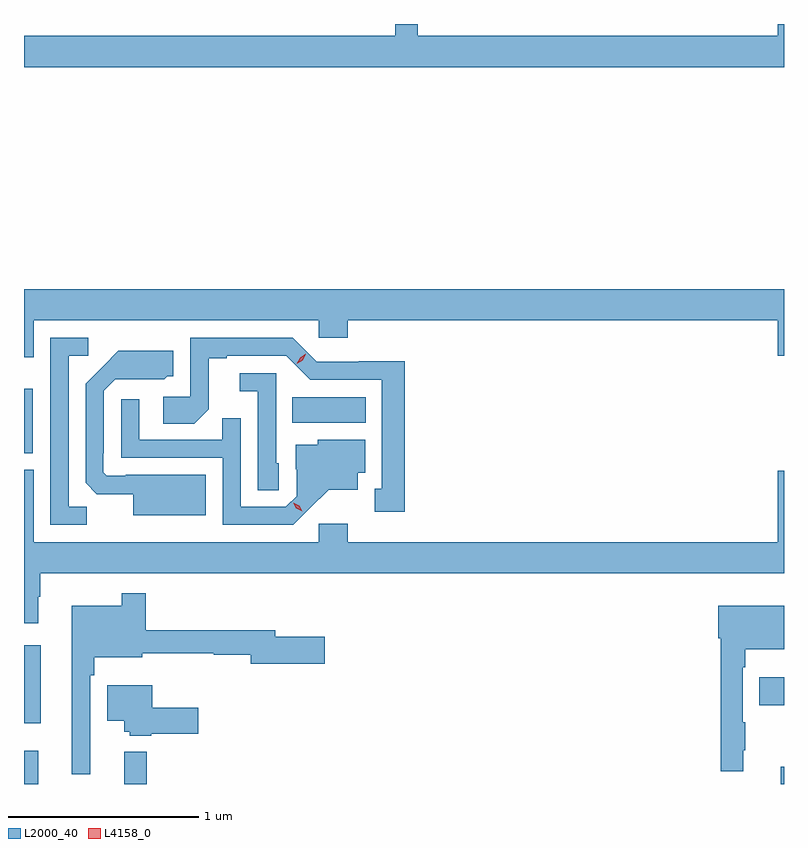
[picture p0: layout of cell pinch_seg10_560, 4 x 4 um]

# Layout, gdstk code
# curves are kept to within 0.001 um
import gdstk
lib = gdstk.Library(unit=1e-6, precision=1e-09)
def R(c, l, rs):  # rectangles x0, y0, x1, y1
    for r in rs: c.add(gdstk.rectangle(r[:2], r[2:], *l))
def P(c, l, *ps):  # polygons
    for p in ps: c.add(gdstk.Polygon(p, *l))
L2000_40 = (2000, 40)
L4158_0 = (4158, 0)

pinch_seg10_560 = lib.new_cell('pinch_seg10_560')
R(pinch_seg10_560, L2000_40, [(376.826,1285.887,376.901,1286.062), (377.354,1285.887,377.471,1286.056), (380.81,1285.887,380.826,1285.978), (376.826,1286.207,376.915,1286.617), (380.695,1286.302,380.826,1286.449), (376.826,1287.629,376.873,1287.967), (378.238,1287.788,378.625,1287.922)])
P(pinch_seg10_560, L2000_40, [(380.826,1289.887),(380.792,1289.887),(380.792,1289.824),(378.898,1289.824),(378.898,1289.887),(378.781,1289.887),(378.781,1289.824),(376.826,1289.824),(376.826,1289.66),(380.826,1289.66)],
  [(376.876,1288.328),(378.378,1288.328),(378.378,1288.235),(378.53,1288.235),(378.53,1288.328),(380.792,1288.328),(380.792,1288.14),(380.826,1288.14),(380.826,1288.492),(376.826,1288.492),(376.826,1288.134),(376.876,1288.134)],
  [(378.829,1288.112),(378.588,1288.112),(378.588,1288.11),(378.366,1288.11),(378.24,1288.236),(377.7,1288.236),(377.7,1287.924),(377.559,1287.924),(377.559,1287.784),(377.723,1287.784),(377.799,1287.86),(377.799,1288.128),(377.893,1288.128),(377.893,1288.14),(378.207,1288.14),(378.333,1288.014),(378.71,1288.014),(378.71,1287.441),(378.671,1287.441),(378.671,1287.321),(378.829,1287.321)],
  [(377.157,1287.347),(377.061,1287.347),(377.061,1288.14),(377.164,1288.14),(377.164,1288.236),(376.965,1288.236),(376.965,1287.252),(377.157,1287.252)],
  [(377.782,1287.514),(377.362,1287.514),(377.362,1287.51),(377.262,1287.51),(377.244,1287.528),(377.244,1287.628),(377.247,1287.628),(377.247,1287.957),(377.307,1288.017),(377.564,1288.016),(377.58,1288.032),(377.611,1288.032),(377.611,1288.168),(377.323,1288.168),(377.151,1287.994),(377.151,1287.472),(377.21,1287.413),(377.402,1287.413),(377.402,1287.302),(377.782,1287.302)],
  [(378.168,1287.576),(378.153,1287.576),(378.153,1288.05),(377.961,1288.05),(377.961,1287.953),(378.057,1287.953),(378.057,1287.433),(378.168,1287.433)],
  [(378.328,1287.335),(378.431,1287.437),(378.583,1287.437),(378.583,1287.524),(378.622,1287.524),(378.622,1287.7),(378.372,1287.7),(378.372,1287.673),(378.257,1287.673),(378.257,1287.544),(378.261,1287.544),(378.261,1287.402),(378.204,1287.345),(377.967,1287.345),(377.967,1287.812),(377.869,1287.812),(377.869,1287.699),(377.433,1287.699),(377.433,1287.913),(377.337,1287.913),(377.337,1287.603),(377.871,1287.603),(377.871,1287.252),(378.244,1287.252)],
  [(376.9,1286.873),(376.912,1286.873),(376.912,1286.996),(380.826,1286.996),(380.826,1287.535),(380.792,1287.535),(380.792,1287.16),(378.53,1287.16),(378.53,1287.256),(378.378,1287.256),(378.378,1287.16),(376.876,1287.16),(376.876,1287.541),(376.826,1287.541),(376.826,1286.733),(376.9,1286.733)],
  [(377.175,1286.459),(377.195,1286.459),(377.195,1286.555),(377.449,1286.555),(377.449,1286.574),(377.824,1286.574),(377.824,1286.566),(378.02,1286.566),(378.02,1286.519),(378.409,1286.519),(378.409,1286.661),(378.148,1286.661),(378.148,1286.695),(377.468,1286.695),(377.468,1286.89),(377.34,1286.89),(377.34,1286.824),(377.078,1286.824),(377.078,1285.938),(377.175,1285.938)],
  [(380.612,1286.065),(380.623,1286.065),(380.623,1286.213),(380.61,1286.213),(380.61,1286.501),(380.623,1286.501),(380.623,1286.597),(380.826,1286.597),(380.826,1286.824),(380.48,1286.824),(380.48,1286.654),(380.494,1286.654),(380.494,1285.953),(380.612,1285.953)],
  [(377.496,1286.152),(377.743,1286.152),(377.743,1286.289),(377.5,1286.289),(377.5,1286.407),(377.264,1286.407),(377.264,1286.219),(377.354,1286.219),(377.354,1286.163),(377.382,1286.163),(377.382,1286.141),(377.496,1286.141)])
P(pinch_seg10_560, L4158_0, [(378.262,1288.099),(378.262,1288.099),(378.279,1288.131),(378.31,1288.151),(378.31,1288.151),(378.31,1288.15),(378.294,1288.118),(378.262,1288.099)],
  [(378.291,1287.322),(378.26,1287.338),(378.243,1287.367),(378.243,1287.368),(378.244,1287.368),(378.274,1287.352),(378.291,1287.323),(378.291,1287.322)])

lib.write_gds('pinch_seg10_560.gds')
